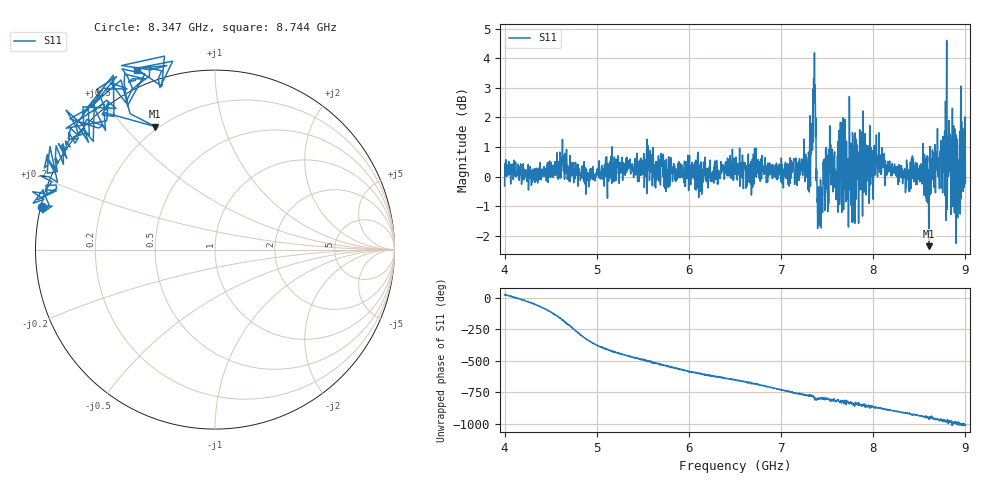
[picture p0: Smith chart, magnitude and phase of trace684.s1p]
! Created with skrf 1.8.0 (http://scikit-rf.org).
# Hz S RI R 50.0
!freq ReS11 ImS11
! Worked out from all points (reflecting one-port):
!   1601 points, 4 GHz to 9 GHz, reference 50 ohm
!   lowest |S11| = -2.4 dB at 8.603 GHz (marker M1), VSWR 7.42, Z = 9.31 + j30.5 ohm
!   phase of S11 starts at 26 deg and turns -1038 deg over the sweep
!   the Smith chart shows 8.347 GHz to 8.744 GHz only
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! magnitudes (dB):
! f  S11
! 4 GHz  -0.3
! 4.625 GHz  0.8
! 4.897 GHz  0.1
! 5.25 GHz  0.5
! 5.875 GHz  0.0
! 6.5 GHz  0.1
! 7.125 GHz  0.4
! 7.294 GHz  -0.5
! 7.319 GHz  -0.3
! 7.353 GHz  3.3
! 7.4 GHz  -0.5
! 7.416 GHz  -1.6
! 7.534 GHz  0.7
! 7.616 GHz  -1.2
! 7.669 GHz  1.2
! 7.75 GHz  0.4
! 7.784 GHz  -0.1
! 7.844 GHz  0.7
! 8.05 GHz  0.7
! 8.375 GHz  -0.1
! 8.441 GHz  0.2
! 8.603 GHz  -2.4
! 8.656 GHz  0.8
! 8.766 GHz  1.1
! 8.775 GHz  1.5
! 8.906 GHz  0.5
! 8.972 GHz  0.4
! 9 GHz  -0.2
